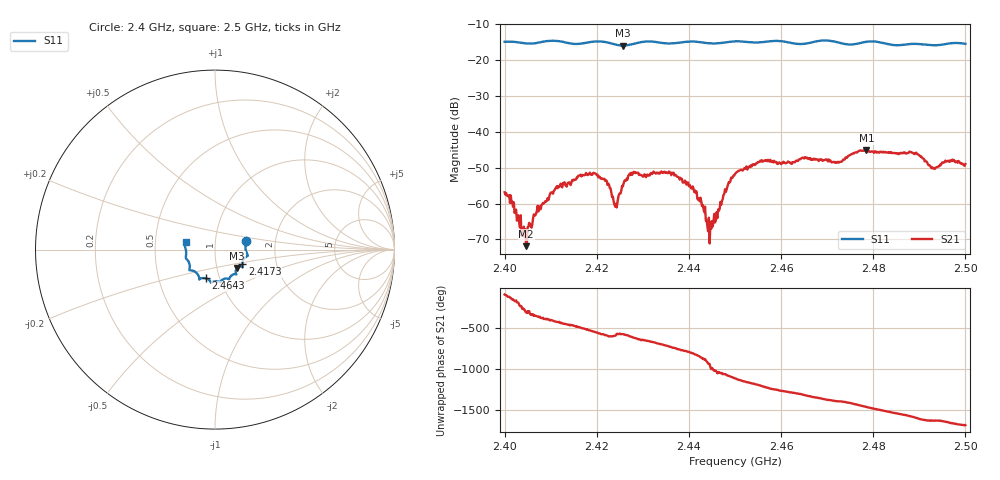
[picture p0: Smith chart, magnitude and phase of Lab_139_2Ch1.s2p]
# Hz S RI R 50
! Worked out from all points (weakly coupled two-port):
!   601 points, 2.4 GHz to 2.5 GHz, reference 50 ohm
!   highest |S21| = -45.11 dB at 2.4785 GHz (marker M1); lowest = -71.9 dB at 2.4047 GHz (marker M2)
!   lowest |S11| = -15.9 dB at 2.4257 GHz (marker M3), VSWR 1.38, Z = 62.4 - j13.1 ohm
!   |S11| at or under -10 dB: start of sweep to end of sweep
!   S12 and S22 are empty: the file has one direction only
!   S11 on the Smith chart (normalised r, x): 2.4 GHz: 1.41, +0.15; 2.4173 GHz: 1.34, -0.23; 2.4643 GHz: 0.86, -0.28; 2.5 GHz: 0.72, +0.06
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2.4e9  0.1733 0.05  7.03e-05 -0.00144  0 0  0 0
2.404667e9  0.1704 0.0175  0.000137 0.000215  0 0  0 0
2.4105e9  0.1836 -0.0334  0.000937 -0.001  0 0  0 0
2.416667e9  0.1531 -0.0749  -0.00172 -0.00166  0 0  0 0
2.417333e9  0.1525 -0.0823  -0.00209 -0.00134  0 0  0 0
2.421667e9  0.1528 -0.0949  -0.00174 0.00138  0 0  0 0
2.424e9  0.1361 -0.0942  -0.000569 0.000701  0 0  0 0
2.425667e9  0.1225 -0.1022  -0.00147 0.000932  0 0  0 0
2.427667e9  0.1153 -0.1207  -0.000982 0.00231  0 0  0 0
2.433333e9  0.1128 -0.1366  0.00221 0.00142  0 0  0 0
2.441167e9  0.0776 -0.1648  -0.000143 -0.00143  0 0  0 0
2.444667e9  0.0579 -0.1613  -0.000124 0.000541  0 0  0 0
2.45e9  0.0298 -0.1807  0.00214 -0.00147  0 0  0 0
2.456e9  -0.00674 -0.1786  -0.00259 -0.00284  0 0  0 0
2.464333e9  -0.0501 -0.1602  -0.0029 0.00312  0 0  0 0
2.466667e9  -0.076 -0.1599  -0.000869 0.00408  0 0  0 0
2.4725e9  -0.0891 -0.1517  0.00263 0.00263  0 0  0 0
2.4785e9  -0.1385 -0.1158  0.00507 -0.00227  0 0  0 0
2.483333e9  -0.1409 -0.0893  0.000745 -0.00517  0 0  0 0
2.489667e9  -0.1625 -0.0428  -0.00468 -0.00135  0 0  0 0
2.493e9  -0.1607 -0.0139  -0.00305 0.000531  0 0  0 0
2.5e9  -0.1635 0.0421  -0.0014 0.00327  0 0  0 0
